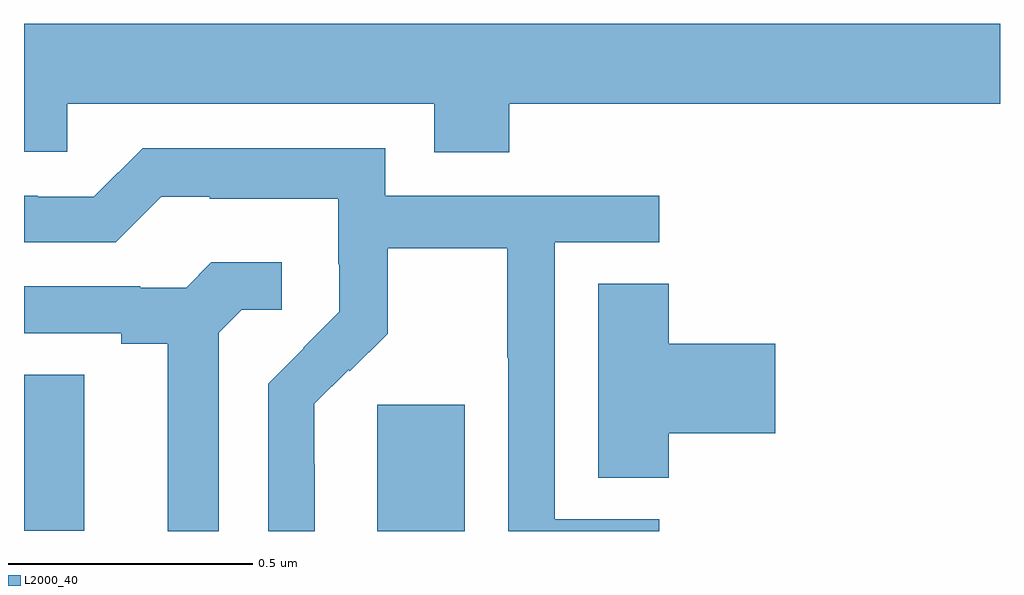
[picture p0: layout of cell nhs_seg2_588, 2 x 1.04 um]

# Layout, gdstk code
import gdstk
lib = gdstk.Library(unit=1e-6, precision=1e-09)
def R(c, l, rs):  # rectangles x0, y0, x1, y1
    for r in rs: c.add(gdstk.rectangle(r[:2], r[2:], *l))
def P(c, l, *ps):  # polygons
    for p in ps: c.add(gdstk.Polygon(p, *l))
L2000_40 = (2000, 40)

nhs_seg2_588 = lib.new_cell('nhs_seg2_588')
R(nhs_seg2_588, L2000_40, [(118.724,606.8,118.903,607.059), (118,606.801,118.123,607.121)])
P(nhs_seg2_588, L2000_40, [(118.994,607.676),(120,607.676),(120,607.84),(118,607.84),(118,607.578),(118.089,607.578),(118.089,607.676),(118.841,607.676),(118.841,607.577),(118.994,607.577)],
  [(118.596,606.938),(118.595,606.938),(118.595,607.061),(118.665,607.131),(118.668,607.128),(118.745,607.205),(118.745,607.38),(118.99,607.38),(118.99,607.156),(118.992,607.156),(118.992,606.8),(119.302,606.8),(119.302,606.825),(119.088,606.825),(119.088,607.392),(119.302,607.392),(119.302,607.488),(118.74,607.488),(118.74,607.585),(118.243,607.585),(118.143,607.485),(118.028,607.485),(118.028,607.488),(118,607.488),(118,607.392),(118.188,607.392),(118.281,607.485),(118.381,607.485),(118.381,607.481),(118.644,607.481),(118.644,607.347),(118.646,607.347),(118.646,607.25),(118.572,607.176),(118.573,607.175),(118.5,607.102),(118.5,606.8),(118.596,606.8)],
  [(118.399,607.207),(118.446,607.254),(118.528,607.254),(118.528,607.351),(118.384,607.351),(118.332,607.299),(118.238,607.299),(118.238,607.302),(118,607.302),(118,607.206),(118.199,607.206),(118.199,607.184),(118.295,607.184),(118.295,606.8),(118.399,606.8)],
  [(119.321,607.001),(119.539,607.001),(119.539,607.184),(119.321,607.184),(119.321,607.307),(119.177,607.307),(119.177,606.91),(119.321,606.91)])

lib.write_gds('nhs_seg2_588.gds')
